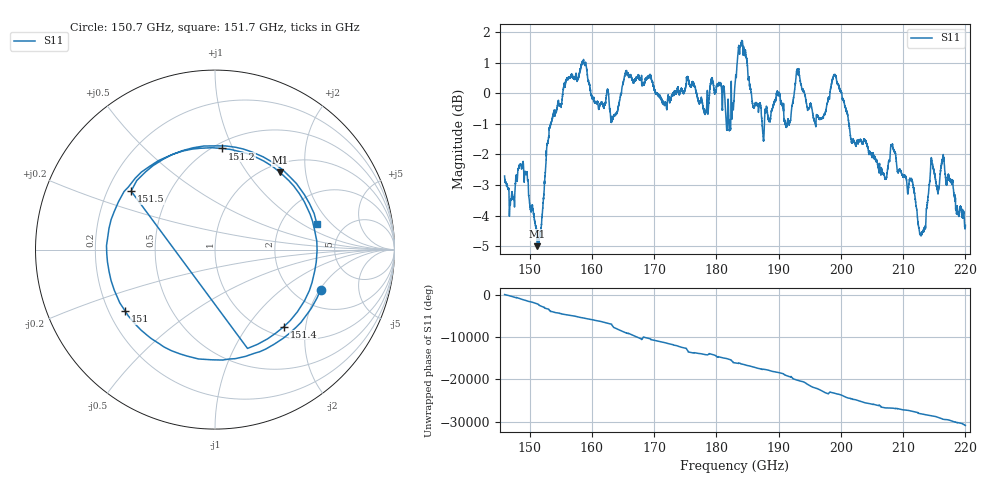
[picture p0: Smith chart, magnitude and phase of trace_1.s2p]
!Created with skrf (http://scikit-rf.org).
# Hz S RI R 50.0
!freq ReS11 ImS11
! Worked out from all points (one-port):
!   8001 points, 146 GHz to 220 GHz, reference 50 ohm
!   lowest |S11| = -5.0 dB at 151.3 GHz (marker M1), VSWR 3.57, Z = 57.8 + j72.7 ohm
!   |S11| at or under -10 dB: nowhere
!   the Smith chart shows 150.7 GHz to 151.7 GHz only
!   S11 on the Smith chart (normalised r, x): 150.7 GHz: 2.76, -2.04; 151 GHz: 0.27, -0.29; 151.2 GHz: 0.55, +0.91; 151.4 GHz: 1.19, -1.52; 151.5 GHz: 0.30, +0.29; 151.7 GHz: 3.17, +1.38
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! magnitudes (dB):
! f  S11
! 146 GHz  -2.7
! 148.7 GHz  -2.5
! 150.7 GHz  -4.0
! 151 GHz  -4.4
! 151.2 GHz  -5.0
! 151.3 GHz  -5.0
! 151.4 GHz  -4.8
! 151.5 GHz  -4.9
! 151.7 GHz  -4.7
! 153.1 GHz  -1.4
! 155.2 GHz  -0.2
! 158.7 GHz  1.0
! 164.5 GHz  -0.2
! 173.8 GHz  0.2
! 181.9 GHz  -0.5
! 183 GHz  0.3
! 184.1 GHz  1.7
! 187.5 GHz  -1.5
! 192.2 GHz  -0.3
! 193.1 GHz  0.6
! 196.9 GHz  -0.8
! 199 GHz  0.6
! 201.5 GHz  -1.3
! 210.8 GHz  -3.3
! 213 GHz  -4.6
! 214.6 GHz  -2.2
! 216.4 GHz  -2.1
! 220 GHz  -4.3
